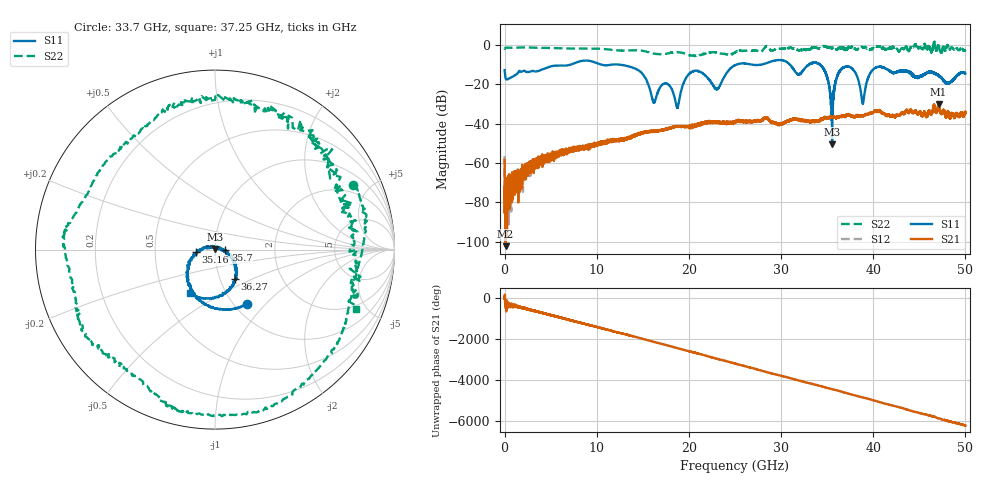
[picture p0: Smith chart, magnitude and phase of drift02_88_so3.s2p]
!Created with skrf (http://scikit-rf.org).
# Hz S RI R 50.0
!freq ReS11 ImS11 ReS21 ImS21 ReS12 ImS12 ReS22 ImS22
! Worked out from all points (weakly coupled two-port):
!   10001 points, 300 kHz to 50 GHz, reference 50 ohm
!   highest |S21| = -30.19 dB at 47.09 GHz (marker M1); lowest = -102.3 dB at 100.3 MHz (marker M2)
!   lowest |S11| = -50.5 dB at 35.54 GHz (marker M3), VSWR 1.01, Z = 50.1 + j0.29 ohm
!   |S11| at or under -10 dB: start of sweep to 7.178 GHz; 12.38 GHz to 25.17 GHz (12.79 GHz wide, 68.1 % of centre); 34.23 GHz to end of sweep (the widest 3 of 16)
!   |S22| runs from -5.7 to 2.2 dB; largest |S21 - S12| = 0.0034
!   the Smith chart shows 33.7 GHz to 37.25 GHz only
!   S11 on the Smith chart (normalised r, x): 33.7 GHz: 1.14, -0.79; 35.16 GHz: 0.81, -0.03; 35.7 GHz: 1.12, -0.00; 36.27 GHz: 1.18, -0.41; 37.25 GHz: 0.68, -0.36
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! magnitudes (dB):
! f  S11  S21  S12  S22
! 300 kHz  -12.9  -58.4  -56.4  -2.0
! 100.3 MHz  -16.7  -102.3  -73.2  -1.5
! 8.335 GHz  -8.2  -52.4  -52.2  -1.9
! 14.06 GHz  -11.8  -46.2  -46.4  -2.8
! 16.67 GHz  -23.5  -43.6  -43.6  -4.7
! 17.72 GHz  -20.0  -42.5  -42.5  -4.3
! 18.74 GHz  -32.1  -41.4  -41.5  -3.7
! 20.25 GHz  -13.9  -41.4  -41.6  -5.4
! 23.04 GHz  -22.5  -39.4  -39.3  -4.1
! 25 GHz  -10.3  -39.0  -38.8  -3.9
! 33.34 GHz  -9.4  -38.9  -39.0  -1.6
! 33.7 GHz  -9.1  -38.7  -38.5  -1.4
! 35.16 GHz  -19.4  -37.2  -37.0  -1.7
! 35.54 GHz  -50.5  -36.7  -36.6  -1.7
! 35.7 GHz  -24.9  -36.8  -36.8  -1.4
! 36.27 GHz  -14.0  -36.6  -36.7  -1.5
! 37.25 GHz  -11.0  -35.8  -35.4  -1.4
! 38.87 GHz  -29.8  -36.1  -35.9  -1.4
! 39.96 GHz  -12.7  -34.4  -34.5  -1.9
! 41.67 GHz  -12.9  -35.6  -35.7  -2.0
! 47.09 GHz  -15.6  -30.2  -30.3  1.0
! 50 GHz  -14.5  -34.3  -34.2  -2.7
